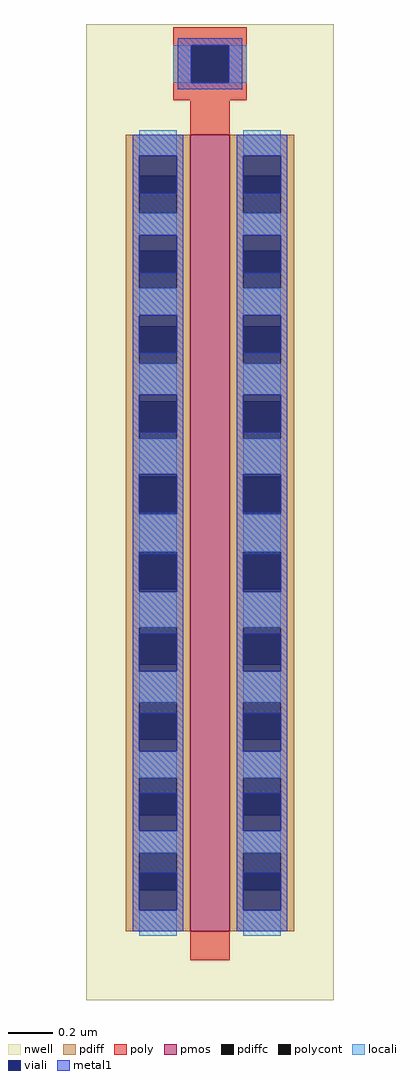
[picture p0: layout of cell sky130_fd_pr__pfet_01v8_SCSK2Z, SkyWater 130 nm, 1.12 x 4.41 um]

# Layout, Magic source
magic
tech sky130A
magscale 1 2
<< nwell >>
rect -112 -458 112 424
<< pmos >>
rect -18 -396 18 324
<< pdiff >>
rect -76 287 -18 324
rect -76 253 -64 287
rect -30 253 -18 287
rect -76 219 -18 253
rect -76 185 -64 219
rect -30 185 -18 219
rect -76 151 -18 185
rect -76 117 -64 151
rect -30 117 -18 151
rect -76 83 -18 117
rect -76 49 -64 83
rect -30 49 -18 83
rect -76 15 -18 49
rect -76 -19 -64 15
rect -30 -19 -18 15
rect -76 -53 -18 -19
rect -76 -87 -64 -53
rect -30 -87 -18 -53
rect -76 -121 -18 -87
rect -76 -155 -64 -121
rect -30 -155 -18 -121
rect -76 -189 -18 -155
rect -76 -223 -64 -189
rect -30 -223 -18 -189
rect -76 -257 -18 -223
rect -76 -291 -64 -257
rect -30 -291 -18 -257
rect -76 -325 -18 -291
rect -76 -359 -64 -325
rect -30 -359 -18 -325
rect -76 -396 -18 -359
rect 18 287 76 324
rect 18 253 30 287
rect 64 253 76 287
rect 18 219 76 253
rect 18 185 30 219
rect 64 185 76 219
rect 18 151 76 185
rect 18 117 30 151
rect 64 117 76 151
rect 18 83 76 117
rect 18 49 30 83
rect 64 49 76 83
rect 18 15 76 49
rect 18 -19 30 15
rect 64 -19 76 15
rect 18 -53 76 -19
rect 18 -87 30 -53
rect 64 -87 76 -53
rect 18 -121 76 -87
rect 18 -155 30 -121
rect 64 -155 76 -121
rect 18 -189 76 -155
rect 18 -223 30 -189
rect 64 -223 76 -189
rect 18 -257 76 -223
rect 18 -291 30 -257
rect 64 -291 76 -257
rect 18 -325 76 -291
rect 18 -359 30 -325
rect 64 -359 76 -325
rect 18 -396 76 -359
<< pdiffc >>
rect -64 253 -30 287
rect -64 185 -30 219
rect -64 117 -30 151
rect -64 49 -30 83
rect -64 -19 -30 15
rect -64 -87 -30 -53
rect -64 -155 -30 -121
rect -64 -223 -30 -189
rect -64 -291 -30 -257
rect -64 -359 -30 -325
rect 30 253 64 287
rect 30 185 64 219
rect 30 117 64 151
rect 30 49 64 83
rect 30 -19 64 15
rect 30 -87 64 -53
rect 30 -155 64 -121
rect 30 -223 64 -189
rect 30 -291 64 -257
rect 30 -359 64 -325
<< poly >>
rect -33 405 33 421
rect -33 371 -17 405
rect 17 371 33 405
rect -33 355 33 371
rect -18 324 18 355
rect -18 -422 18 -396
<< polycont >>
rect -17 371 17 405
<< locali >>
rect -33 371 -17 405
rect 17 371 33 405
rect -64 305 -30 328
rect -64 233 -30 253
rect -64 161 -30 185
rect -64 89 -30 117
rect -64 17 -30 49
rect -64 -53 -30 -19
rect -64 -121 -30 -89
rect -64 -189 -30 -161
rect -64 -257 -30 -233
rect -64 -325 -30 -305
rect -64 -400 -30 -377
rect 30 305 64 328
rect 30 233 64 253
rect 30 161 64 185
rect 30 89 64 117
rect 30 17 64 49
rect 30 -53 64 -19
rect 30 -121 64 -89
rect 30 -189 64 -161
rect 30 -257 64 -233
rect 30 -325 64 -305
rect 30 -400 64 -377
<< viali >>
rect -17 371 17 405
rect -64 287 -30 305
rect -64 271 -30 287
rect -64 219 -30 233
rect -64 199 -30 219
rect -64 151 -30 161
rect -64 127 -30 151
rect -64 83 -30 89
rect -64 55 -30 83
rect -64 15 -30 17
rect -64 -17 -30 15
rect -64 -87 -30 -55
rect -64 -89 -30 -87
rect -64 -155 -30 -127
rect -64 -161 -30 -155
rect -64 -223 -30 -199
rect -64 -233 -30 -223
rect -64 -291 -30 -271
rect -64 -305 -30 -291
rect -64 -359 -30 -343
rect -64 -377 -30 -359
rect 30 287 64 305
rect 30 271 64 287
rect 30 219 64 233
rect 30 199 64 219
rect 30 151 64 161
rect 30 127 64 151
rect 30 83 64 89
rect 30 55 64 83
rect 30 15 64 17
rect 30 -17 64 15
rect 30 -87 64 -55
rect 30 -89 64 -87
rect 30 -155 64 -127
rect 30 -161 64 -155
rect 30 -223 64 -199
rect 30 -233 64 -223
rect 30 -291 64 -271
rect 30 -305 64 -291
rect 30 -359 64 -343
rect 30 -377 64 -359
<< metal1 >>
rect -29 405 29 411
rect -29 371 -17 405
rect 17 371 29 405
rect -29 365 29 371
rect -70 305 -24 324
rect -70 271 -64 305
rect -30 271 -24 305
rect -70 233 -24 271
rect -70 199 -64 233
rect -30 199 -24 233
rect -70 161 -24 199
rect -70 127 -64 161
rect -30 127 -24 161
rect -70 89 -24 127
rect -70 55 -64 89
rect -30 55 -24 89
rect -70 17 -24 55
rect -70 -17 -64 17
rect -30 -17 -24 17
rect -70 -55 -24 -17
rect -70 -89 -64 -55
rect -30 -89 -24 -55
rect -70 -127 -24 -89
rect -70 -161 -64 -127
rect -30 -161 -24 -127
rect -70 -199 -24 -161
rect -70 -233 -64 -199
rect -30 -233 -24 -199
rect -70 -271 -24 -233
rect -70 -305 -64 -271
rect -30 -305 -24 -271
rect -70 -343 -24 -305
rect -70 -377 -64 -343
rect -30 -377 -24 -343
rect -70 -396 -24 -377
rect 24 305 70 324
rect 24 271 30 305
rect 64 271 70 305
rect 24 233 70 271
rect 24 199 30 233
rect 64 199 70 233
rect 24 161 70 199
rect 24 127 30 161
rect 64 127 70 161
rect 24 89 70 127
rect 24 55 30 89
rect 64 55 70 89
rect 24 17 70 55
rect 24 -17 30 17
rect 64 -17 70 17
rect 24 -55 70 -17
rect 24 -89 30 -55
rect 64 -89 70 -55
rect 24 -127 70 -89
rect 24 -161 30 -127
rect 64 -161 70 -127
rect 24 -199 70 -161
rect 24 -233 30 -199
rect 64 -233 70 -199
rect 24 -271 70 -233
rect 24 -305 30 -271
rect 64 -305 70 -271
rect 24 -343 70 -305
rect 24 -377 30 -343
rect 64 -377 70 -343
rect 24 -396 70 -377
<< end >>
